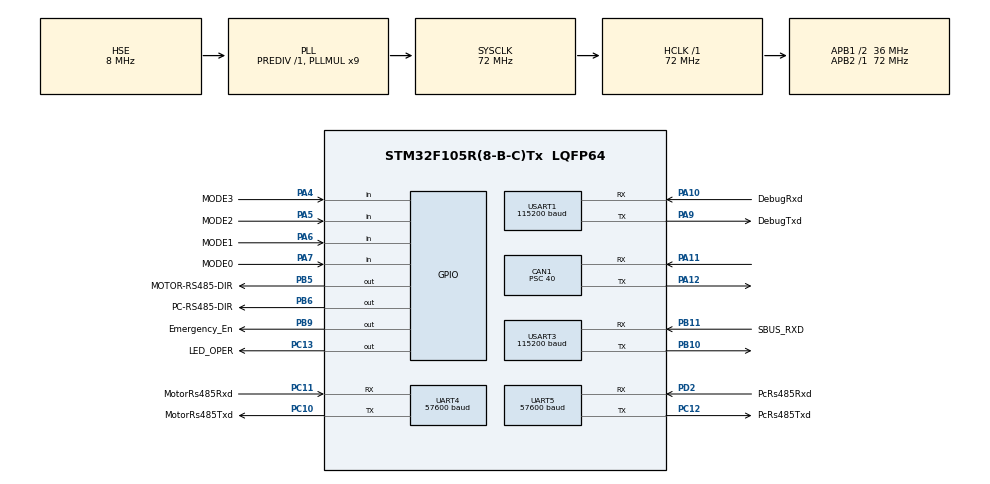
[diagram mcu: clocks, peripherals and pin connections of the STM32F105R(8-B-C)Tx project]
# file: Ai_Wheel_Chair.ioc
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CAN1.BS1=CAN_BS1_15TQ
CAN1.BS2=CAN_BS2_2TQ
CAN1.CalculateBaudRate=50000
CAN1.CalculateTimeBit=20000
CAN1.CalculateTimeQuantum=1111.111111111111
CAN1.Prescaler=40
Mcu.Family=STM32F1
Mcu.Name=STM32F105R(8-B-C)Tx
Mcu.Package=LQFP64
NVIC.CAN1_RX0_IRQn=true\:0\:0\:false\:false\:true\:true\:true\:true
NVIC.CAN1_TX_IRQn=true\:0\:0\:false\:false\:true\:true\:true\:true
NVIC.PriorityGroup=NVIC_PRIORITYGROUP_4
NVIC.TIM6_IRQn=true\:0\:0\:false\:false\:true\:true\:true\:true
NVIC.UART4_IRQn=true\:0\:0\:false\:false\:true\:true\:true\:true
NVIC.UART5_IRQn=true\:0\:0\:false\:false\:true\:true\:true\:true
NVIC.USART1_IRQn=true\:0\:0\:false\:false\:true\:true\:true\:true
NVIC.USART3_IRQn=true\:0\:0\:false\:false\:true\:true\:true\:true
PA10.GPIO_Label=DebugRxd
PA10.Mode=Asynchronous
PA10.Signal=USART1_RX
PA11.Mode=CAN_Activate
PA11.Signal=CAN1_RX
PA12.Mode=CAN_Activate
PA12.Signal=CAN1_TX
PA4.GPIO_Label=MODE3
PA4.GPIO_PuPd=GPIO_PULLUP
PA4.Signal=GPIO_Input
PA5.GPIO_Label=MODE2
PA5.GPIO_PuPd=GPIO_PULLUP
PA5.Signal=GPIO_Input
PA6.GPIO_Label=MODE1
PA6.GPIO_PuPd=GPIO_PULLUP
PA6.Signal=GPIO_Input
PA7.GPIO_Label=MODE0
PA7.GPIO_PuPd=GPIO_PULLUP
PA7.Signal=GPIO_Input
PA9.GPIO_Label=DebugTxd
PA9.Mode=Asynchronous
PA9.Signal=USART1_TX
PB10.Mode=Asynchronous
PB10.Signal=USART3_TX
PB11.GPIO_Label=SBUS_RXD
PB11.Mode=Asynchronous
PB11.Signal=USART3_RX
PB5.GPIO_Label=MOTOR-RS485-DIR
PB5.Signal=GPIO_Output
PB6.GPIO_Label=PC-RS485-DIR
PB6.Signal=GPIO_Output
PB9.GPIO_Label=Emergency_En
PB9.Signal=GPIO_Output
PC10.GPIO_Label=MotorRs485Txd
PC10.Mode=Asynchronous
PC10.Signal=UART4_TX
PC11.GPIO_Label=MotorRs485Rxd
PC11.Mode=Asynchronous
PC11.Signal=UART4_RX
PC12.GPIO_Label=PcRs485Txd
PC12.Mode=Asynchronous
PC12.Signal=UART5_TX
PC13-TAMPER-RTC.GPIO_Label=LED_OPER
PC13-TAMPER-RTC.Signal=GPIO_Output
PD0-OSC_IN.Mode=HSE-External-Oscillator
PD0-OSC_IN.Signal=RCC_OSC_IN
PD1-OSC_OUT.Mode=HSE-External-Oscillator
PD1-OSC_OUT.Signal=RCC_OSC_OUT
PD2.GPIO_Label=PcRs485Rxd
PD2.Mode=Asynchronous
PD2.Signal=UART5_RX
ProjectManager.HeapSize=0x200
ProjectManager.StackSize=0x400
ProjectManager.TargetToolchain=STM32CubeIDE
RCC.AHBFreq_Value=72000000
RCC.APB1CLKDivider=RCC_HCLK_DIV2
RCC.APB1Freq_Value=36000000
RCC.APB1TimFreq_Value=72000000
RCC.APB2Freq_Value=72000000
RCC.APB2TimFreq_Value=72000000
RCC.HCLKFreq_Value=72000000
RCC.PLLMUL=RCC_PLL_MUL9
RCC.PLLSourceVirtual=RCC_PLLSOURCE_HSE
RCC.SYSCLKFreq_VALUE=72000000
RCC.SYSCLKSource=RCC_SYSCLKSOURCE_PLLCLK
RCC.USBFreq_Value=48000000
TIM6.Period=100-1
TIM6.Prescaler=3600
UART4.BaudRate=57600
UART4.Parity=PARITY_EVEN
UART4.StopBits=UART_STOPBITS_1
UART4.VirtualMode=Asynchronous
UART4.WordLength=WORDLENGTH_9B
UART5.BaudRate=57600
UART5.Parity=PARITY_NONE
UART5.StopBits=UART_STOPBITS_1
UART5.VirtualMode=Asynchronous
UART5.WordLength=WORDLENGTH_8B
USART1.BaudRate=115200
USART1.VirtualMode=VM_ASYNC
USART1.WordLength=WORDLENGTH_9B
USART3.BaudRate=115200
USART3.Parity=PARITY_NONE
USART3.StopBits=STOPBITS_1
USART3.VirtualMode=VM_ASYNC
USART3.WordLength=WORDLENGTH_9B
VP_SYS_VS_ND.Mode=No_Debug
VP_TIM6_VS_ClockSourceINT.Mode=Enable_Timer
board=custom

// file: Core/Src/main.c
/* USER CODE BEGIN Header */
/**
  ******************************************************************************
  * @file           : main.c
  * @brief          : Main program body
  ******************************************************************************
  * @attention
  *
  * Copyright (c) 2023 STMicroelectronics.
  * All rights reserved.
  *
  * This software is licensed under terms that can be found in the LICENSE file
  * in the root directory of this software component.
  * If no LICENSE file comes with this software, it is provided AS-IS.
  *
  ******************************************************************************
  */
/* USER CODE END Header */
#include "main.h"
#include "can.h"
#include "tim.h"
#include "usart.h"
#include "gpio.h"

/* USER CODE BEGIN Includes */
#include <stdio.h>

/* USER CODE END Includes */

/* USER CODE BEGIN PV */
SerialType serialtype;
RemoteType remotetype;
/* USER CODE END PV */

void SystemClock_Config(void);

/* USER CODE BEGIN 0 */
int __io_putchar (int ch)
{
  (void)HAL_UART_Transmit(&huart1, (uint8_t *)&ch, 1, 100);
  return ch;
}
/* USER CODE END 0 */

int main(void)
{

  /* MCU Configuration--------------------------------------------------------*/

  /* Reset of all peripherals, Initializes the Flash interface and the Systick. */
  HAL_Init();

  /* Configure the system clock */
  SystemClock_Config();

  /* Initialize all configured peripherals */
  MX_GPIO_Init();
  MX_CAN1_Init();
  MX_UART4_Init();
  MX_UART5_Init();
  MX_USART1_UART_Init();
  MX_USART3_UART_Init();
  MX_TIM6_Init();
  /* USER CODE BEGIN 2 */
  //interrupt Ȱ��ȭ
  HAL_TIM_Base_Start_IT(&htim6);
  HAL_UART_Receive_IT (&huart1, &buff, 1);
  HAL_UART_Receive_IT (&huart3, &buff, 1);
  HAL_UART_Receive_IT (&huart4, &buff, 1);
  HAL_UART_Receive_IT (&huart5, &buff, 1);
  Usart_Init();
  Can_Initial();
  //printf("\nIharang Co.,Ltd\n");
  /* USER CODE END 2 */

  /* Infinite loop */
  while (1)
  {

    /* USER CODE BEGIN 3 */

	  serialtype.bSerialType = INPUT_MODE0;
	  remotetype.bRemoteType = INPUT_MODE3;

	  //?��리얼 ?��?��?��
	  DataGetFlowProcess(COM1);
	  DataGetFlowProcess(COM3);
	  DataGetFlowProcess(COM4);
	  DataGetFlowProcess(COM5);

/*
	  PC_RS485_DIR_RXD;
	  HAL_Delay(100);
	  MOTOR_RS485_DIR_RXD;
	  HAL_Delay(100);

	  PC_RS485_DIR_TXD;
	  HAL_Delay(100);
	  MOTOR_RS485_DIR_TXD;
	  HAL_Delay(100);
*/
	  //printf("test\n");
  }
  /* USER CODE END 3 */
}

void SystemClock_Config(void)
{
  RCC_OscInitTypeDef RCC_OscInitStruct = {0};
  RCC_ClkInitTypeDef RCC_ClkInitStruct = {0};

  /** Initializes the RCC Oscillators according to the specified parameters
  * in the RCC_OscInitTypeDef structure.
  */
  RCC_OscInitStruct.OscillatorType = RCC_OSCILLATORTYPE_HSE;
  RCC_OscInitStruct.HSEState = RCC_HSE_ON;
  RCC_OscInitStruct.HSEPredivValue = RCC_HSE_PREDIV_DIV1;
  RCC_OscInitStruct.HSIState = RCC_HSI_ON;
  RCC_OscInitStruct.Prediv1Source = RCC_PREDIV1_SOURCE_HSE;
  RCC_OscInitStruct.PLL.PLLState = RCC_PLL_ON;
  RCC_OscInitStruct.PLL.PLLSource = RCC_PLLSOURCE_HSE;
  RCC_OscInitStruct.PLL.PLLMUL = RCC_PLL_MUL9;
  RCC_OscInitStruct.PLL2.PLL2State = RCC_PLL_NONE;
  if (HAL_RCC_OscConfig(&RCC_OscInitStruct) != HAL_OK)
  {
    Error_Handler();
  }

  /** Initializes the CPU, AHB and APB buses clocks
  */
  RCC_ClkInitStruct.ClockType = RCC_CLOCKTYPE_HCLK|RCC_CLOCKTYPE_SYSCLK
                              |RCC_CLOCKTYPE_PCLK1|RCC_CLOCKTYPE_PCLK2;
  RCC_ClkInitStruct.SYSCLKSource = RCC_SYSCLKSOURCE_PLLCLK;
  RCC_ClkInitStruct.AHBCLKDivider = RCC_SYSCLK_DIV1;
  RCC_ClkInitStruct.APB1CLKDivider = RCC_HCLK_DIV2;
  RCC_ClkInitStruct.APB2CLKDivider = RCC_HCLK_DIV1;

  if (HAL_RCC_ClockConfig(&RCC_ClkInitStruct, FLASH_LATENCY_2) != HAL_OK)
  {
    Error_Handler();
  }

  /** Configure the Systick interrupt time
  */
  __HAL_RCC_PLLI2S_ENABLE();
}

void Error_Handler(void)
{
  __disable_irq();
  while (1)
  {
  }
}
